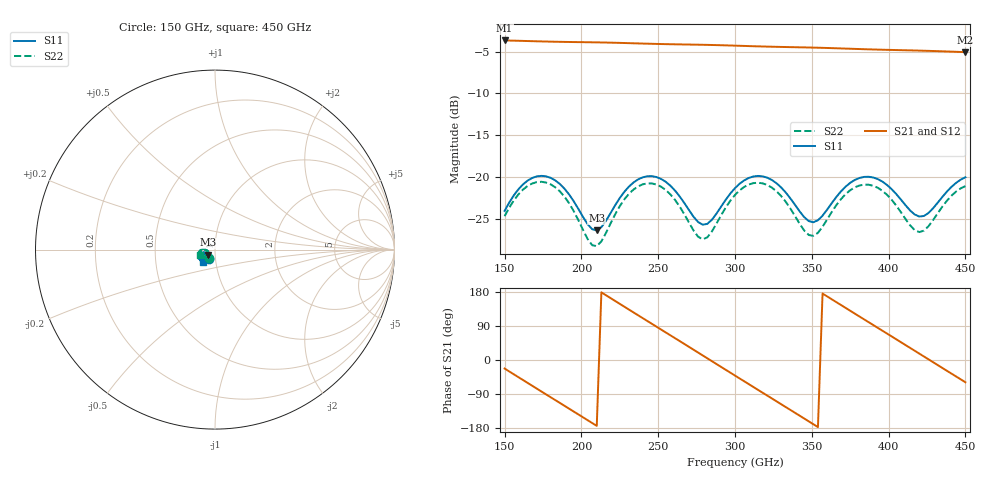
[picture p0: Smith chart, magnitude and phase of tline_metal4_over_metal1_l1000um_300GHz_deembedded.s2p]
! Created with skrf 2.0.1 (http://scikit-rf.org).
# GHz S DB R 50.0
!freq dBS11 angS11 dBS21 angS21 dBS12 angS12 dBS22 angS22
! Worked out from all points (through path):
!   101 points, 150 GHz to 450 GHz, reference 50 ohm
!   highest |S21| = -3.68 dB at 150 GHz (marker M1); lowest = -5.1 dB at 450 GHz (marker M2)
!   group delay of S21, straight-line fit = 7 ps
!   lowest |S11| = -26.4 dB at 210 GHz (marker M3), VSWR 1.10, Z = 46.2 - j2.62 ohm
!   |S11| at or under -10 dB: start of sweep to end of sweep
!   |S22| runs from -28.3 to -20.6 dB; largest |S21 - S12| = 1e-13
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150  -24.07 -120.6  -3.68 -22.6  -3.68 -22.6  -24.70 -127.7
165  -20.44 -131.4  -3.75 -60.5  -3.75 -60.5  -21.08 -140.9
177  -19.93 -148.3  -3.81 -90.7  -3.81 -90.7  -20.68 -159.6
201  -24.78 -163.8  -3.88 -151.1  -3.88 -151.1  -26.32 -178.1
210  -26.39 -143.9  -3.91 -173.9  -3.91 -173.9  -28.29 -153.5
222  -23.39 -125.2  -3.95 155.7  -3.95 155.7  -24.47 -133.5
234  -20.66 -132.8  -4.02 125.4  -4.02 125.4  -21.50 -143.7
252  -20.26 -155.3  -4.11 80.1  -4.11 80.1  -21.19 -169.4
276  -25.40 -155.4  -4.19 19.6  -4.19 19.6  -27.16 -169.5
288  -24.38 -130.6  -4.23 -10.7  -4.23 -10.7  -25.57 -141.3
300  -21.34 -130.1  -4.30 -41.1  -4.30 -41.1  -22.16 -143.5
312  -19.95 -142.4  -4.37 -71.3  -4.37 -71.3  -20.74 -158.3
324  -20.37 -156.3  -4.43 -101.5  -4.43 -101.5  -21.28 -174.3
339  -23.32 -163.5  -4.49 -139.2  -4.49 -139.2  -24.66 176.8
351  -25.43 -144.9  -4.53 -169.5  -4.53 -169.5  -27.06 -161.5
363  -23.14 -127.8  -4.60 160.2  -4.60 160.2  -24.20 -144.0
378  -20.36 -135.4  -4.69 122.4  -4.69 122.4  -21.25 -154.9
390  -20.07 -148.2  -4.76 92.3  -4.76 92.3  -21.06 -170.0
402  -21.47 -158.0  -4.81 62.2  -4.81 62.2  -22.74 178.3
417  -24.50 -150.0  -4.88 24.4  -4.88 24.4  -26.37 -172.2
426  -24.32 -133.5  -4.92 1.7  -4.92 1.7  -25.90 -152.8
450  -20.04 -134.4  -5.08 -58.7  -5.08 -58.7  -21.10 -158.6
